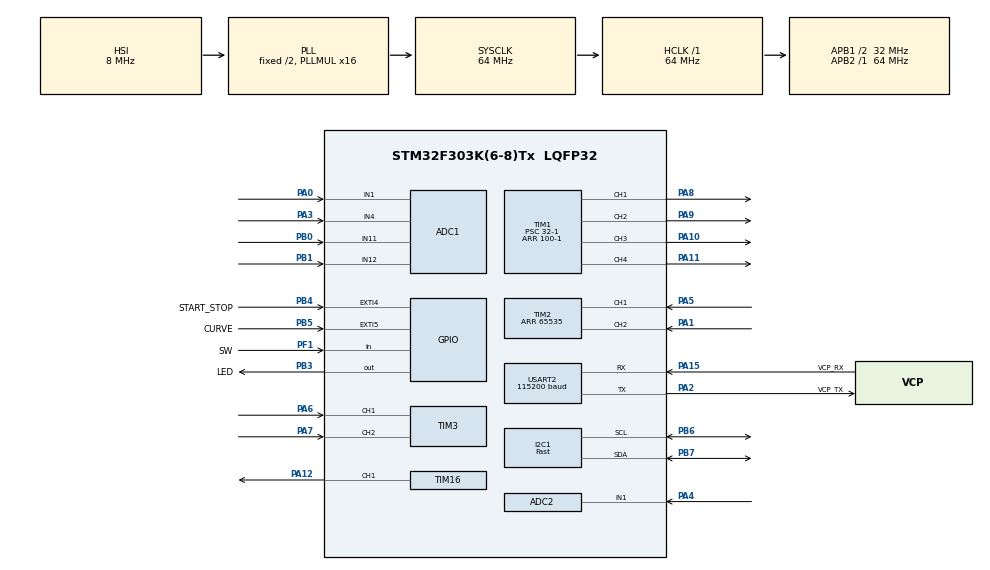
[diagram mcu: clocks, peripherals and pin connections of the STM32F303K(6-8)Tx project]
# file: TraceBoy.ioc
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ADC1.Channel-0\#ChannelRegularConversion=ADC_CHANNEL_1
ADC1.Channel-1\#ChannelRegularConversion=ADC_CHANNEL_4
ADC1.Channel-2\#ChannelRegularConversion=ADC_CHANNEL_12
ADC1.Channel-3\#ChannelRegularConversion=ADC_CHANNEL_11
ADC1.ClockPrescaler=ADC_CLOCK_ASYNC_DIV1
ADC1.ContinuousConvMode=ENABLE
ADC1.DMAContinuousRequests=ENABLE
ADC1.EOCSelection=ADC_EOC_SINGLE_CONV
ADC1.NbrOfConversion=4
ADC1.NbrOfConversionFlag=1
ADC1.Offset-0\#ChannelRegularConversion=0
ADC1.Offset-1\#ChannelRegularConversion=0
ADC1.Offset-2\#ChannelRegularConversion=0
ADC1.Offset-3\#ChannelRegularConversion=0
ADC1.OffsetNumber-0\#ChannelRegularConversion=ADC_OFFSET_NONE
ADC1.OffsetNumber-1\#ChannelRegularConversion=ADC_OFFSET_NONE
ADC1.OffsetNumber-2\#ChannelRegularConversion=ADC_OFFSET_NONE
ADC1.OffsetNumber-3\#ChannelRegularConversion=ADC_OFFSET_NONE
ADC1.Rank-0\#ChannelRegularConversion=1
ADC1.Rank-1\#ChannelRegularConversion=2
ADC1.Rank-2\#ChannelRegularConversion=3
ADC1.Rank-3\#ChannelRegularConversion=4
ADC1.SamplingTime-0\#ChannelRegularConversion=ADC_SAMPLETIME_19CYCLES_5
ADC1.SamplingTime-1\#ChannelRegularConversion=ADC_SAMPLETIME_19CYCLES_5
ADC1.SamplingTime-2\#ChannelRegularConversion=ADC_SAMPLETIME_19CYCLES_5
ADC1.SamplingTime-3\#ChannelRegularConversion=ADC_SAMPLETIME_19CYCLES_5
ADC1.SamplingTimeOPAMP-1\#ChannelRegularConversion=ADC_SAMPLETIME_61CYCLES_5
ADC1.SamplingTimeOPAMP-2\#ChannelRegularConversion=ADC_SAMPLETIME_61CYCLES_5
ADC1.SamplingTimeOPAMP-3\#ChannelRegularConversion=ADC_SAMPLETIME_61CYCLES_5
ADC1.SubFamily=STM32F303x8
ADC1.master=1
ADC2.Channel-0\#ChannelRegularConversion=ADC_CHANNEL_1
ADC2.ContinuousConvMode=ENABLE
ADC2.DMAContinuousRequests=ENABLE
ADC2.InjNumberOfConversion=0
ADC2.NbrOfConversionFlag=1
ADC2.Offset-0\#ChannelRegularConversion=0
ADC2.OffsetNumber-0\#ChannelRegularConversion=ADC_OFFSET_NONE
ADC2.Rank-0\#ChannelRegularConversion=1
ADC2.SamplingTime-0\#ChannelRegularConversion=ADC_SAMPLETIME_601CYCLES_5
ADC2.SamplingTimeOPAMP-0\#ChannelRegularConversion=ADC_SAMPLETIME_61CYCLES_5
ADC2.SubFamily=STM32F303x8
Dma.ADC1.0.Direction=DMA_PERIPH_TO_MEMORY
Dma.ADC1.0.Instance=DMA1_Channel1
Dma.ADC1.0.MemDataAlignment=DMA_MDATAALIGN_HALFWORD
Dma.ADC1.0.MemInc=DMA_MINC_ENABLE
Dma.ADC1.0.Mode=DMA_CIRCULAR
Dma.ADC1.0.PeriphDataAlignment=DMA_PDATAALIGN_HALFWORD
Dma.ADC1.0.PeriphInc=DMA_PINC_DISABLE
Dma.ADC1.0.Priority=DMA_PRIORITY_LOW
Dma.ADC2.1.Direction=DMA_PERIPH_TO_MEMORY
Dma.ADC2.1.Instance=DMA1_Channel2
Dma.ADC2.1.MemDataAlignment=DMA_MDATAALIGN_HALFWORD
Dma.ADC2.1.MemInc=DMA_MINC_ENABLE
Dma.ADC2.1.Mode=DMA_CIRCULAR
Dma.ADC2.1.PeriphDataAlignment=DMA_PDATAALIGN_HALFWORD
Dma.ADC2.1.PeriphInc=DMA_PINC_DISABLE
Dma.ADC2.1.Priority=DMA_PRIORITY_LOW
Dma.Request0=ADC1
Dma.Request1=ADC2
I2C1.I2C_Speed_Mode=I2C_Fast
I2C1.Timing=0x0000020B
Mcu.Family=STM32F3
Mcu.Name=STM32F303K(6-8)Tx
Mcu.Package=LQFP32
NVIC.DMA1_Channel1_IRQn=true\:0\:0\:false\:false\:true\:false\:true\:true
NVIC.DMA1_Channel2_IRQn=true\:0\:0\:false\:false\:true\:false\:true\:true
NVIC.EXTI4_IRQn=true\:0\:0\:false\:false\:true\:true\:true\:true
NVIC.EXTI9_5_IRQn=true\:0\:0\:false\:false\:true\:true\:true\:true
NVIC.PriorityGroup=NVIC_PRIORITYGROUP_4
NVIC.TIM6_DAC1_IRQn=true\:0\:0\:false\:false\:true\:true\:true\:true
PA0.Mode=IN1-Single-Ended
PA0.Signal=ADC1_IN1
PA1.Signal=S_TIM2_CH2
PA10.Signal=S_TIM1_CH3
PA11.Signal=S_TIM1_CH4
PA12.Signal=S_TIM16_CH1
PA13.GPIO_Label=SWDIO
PA13.Mode=Serial_Wire
PA13.Signal=SYS_JTMS-SWDIO
PA14.GPIO_Label=SWCLK
PA14.Mode=Serial_Wire
PA14.Signal=SYS_JTCK-SWCLK
PA15.GPIO_Label=VCP_RX
PA15.Mode=Asynchronous
PA15.Signal=USART2_RX
PA2.GPIO_Label=VCP_TX
PA2.Mode=Asynchronous
PA2.Signal=USART2_TX
PA3.Mode=IN4-Single-Ended
PA3.Signal=ADC1_IN4
PA4.Mode=IN1-Single-Ended
PA4.Signal=ADC2_IN1
PA5.Signal=S_TIM2_CH1_ETR
PA6.Signal=S_TIM3_CH1
PA7.Signal=S_TIM3_CH2
PA8.Signal=S_TIM1_CH1
PA9.Signal=S_TIM1_CH2
PB0.Mode=IN11-Single-Ended
PB0.Signal=ADC1_IN11
PB1.Mode=IN12-Single-Ended
PB1.Signal=ADC1_IN12
PB3.GPIO_Label=LED
PB3.Signal=GPIO_Output
PB4.GPIO_Label=START_STOP
PB4.GPIO_ModeDefaultEXTI=GPIO_MODE_IT_FALLING
PB4.Signal=GPXTI4
PB5.GPIO_Label=CURVE
PB5.GPIO_ModeDefaultEXTI=GPIO_MODE_IT_FALLING
PB5.Signal=GPXTI5
PB6.Mode=I2C
PB6.Signal=I2C1_SCL
PB7.Mode=I2C
PB7.Signal=I2C1_SDA
PF0\ /\ OSC_IN.GPIO_Label=MCO
PF0\ /\ OSC_IN.Mode=HSE-External-Clock-Source
PF0\ /\ OSC_IN.Signal=RCC_OSC_IN
PF1\ /\ OSC_OUT.GPIO_Label=SW
PF1\ /\ OSC_OUT.Signal=GPIO_Input
ProjectManager.HeapSize=0x200
ProjectManager.StackSize=0x400
ProjectManager.TargetToolchain=STM32CubeIDE
RCC.AHBFreq_Value=64000000
RCC.APB1CLKDivider=RCC_HCLK_DIV2
RCC.APB1Freq_Value=32000000
RCC.APB1TimFreq_Value=64000000
RCC.APB2Freq_Value=64000000
RCC.APB2TimFreq_Value=64000000
RCC.CortexFreq_Value=64000000
RCC.HCLKFreq_Value=64000000
RCC.HSE_VALUE=8000000
RCC.HSI_VALUE=8000000
RCC.PLLMUL=RCC_PLL_MUL16
RCC.SYSCLKFreq_VALUE=64000000
RCC.SYSCLKSourceVirtual=RCC_SYSCLKSOURCE_PLLCLK
SH.S_TIM16_CH1.0=TIM16_CH1,PWM Generation1 CH1
SH.S_TIM1_CH1.0=TIM1_CH1,PWM Generation1 CH1
SH.S_TIM1_CH2.0=TIM1_CH2,PWM Generation2 CH2
SH.S_TIM1_CH3.0=TIM1_CH3,PWM Generation3 CH3
SH.S_TIM1_CH4.0=TIM1_CH4,PWM Generation4 CH4
SH.S_TIM2_CH1_ETR.0=TIM2_CH1,Encoder_Interface
SH.S_TIM2_CH2.0=TIM2_CH2,Encoder_Interface
SH.S_TIM3_CH1.0=TIM3_CH1,Encoder_Interface
SH.S_TIM3_CH2.0=TIM3_CH2,Encoder_Interface
TIM1.AutoReloadPreload=TIM_AUTORELOAD_PRELOAD_DISABLE
TIM1.Channel-PWM\ Generation1\ CH1=TIM_CHANNEL_1
TIM1.Channel-PWM\ Generation2\ CH2=TIM_CHANNEL_2
TIM1.Channel-PWM\ Generation3\ CH3=TIM_CHANNEL_3
TIM1.Channel-PWM\ Generation4\ CH4=TIM_CHANNEL_4
TIM1.Period=100-1
TIM1.Prescaler=32-1
TIM16.Channel=TIM_CHANNEL_1
TIM16.Period=1000-1
TIM16.Prescaler=64-1
TIM16.Pulse=500
TIM2.Period=65535
TIM6.AutoReloadPreload=TIM_AUTORELOAD_PRELOAD_ENABLE
TIM6.Period=1000-1
TIM6.Prescaler=64-1
USART2.BaudRate=115200
USART2.VirtualMode-Asynchronous=VM_ASYNC
VP_TIM16_VS_ClockSourceINT.Mode=Enable_Timer
VP_TIM1_VS_ClockSourceINT.Mode=Internal
VP_TIM6_VS_ClockSourceINT.Mode=Enable_Timer
board=NUCLEO-F303K8

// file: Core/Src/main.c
/* USER CODE BEGIN Header */
/**
 ******************************************************************************
 * @file           : main.c
 * @brief          : Main program body
 ******************************************************************************
 * @attention
 *
 * Copyright (c) 2023 STMicroelectronics.
 * All rights reserved.
 *
 * This software is licensed under terms that can be found in the LICENSE file
 * in the root directory of this software component.
 * If no LICENSE file comes with this software, it is provided AS-IS.
 *
 ******************************************************************************
 */
/* USER CODE END Header */
#include "main.h"

/* USER CODE BEGIN Includes */
#include <stdio.h>
#include "arm_math.h"

#define USE_DISPLAY 0

#if USE_DISPLAY == 1
#include "ssd1306.h"
#include "fonts.h"
#endif
/* USER CODE END Includes */

ADC_HandleTypeDef hadc1;
ADC_HandleTypeDef hadc2;
DMA_HandleTypeDef hdma_adc1;
DMA_HandleTypeDef hdma_adc2;

I2C_HandleTypeDef hi2c1;

TIM_HandleTypeDef htim1;
TIM_HandleTypeDef htim2;
TIM_HandleTypeDef htim3;
TIM_HandleTypeDef htim6;
TIM_HandleTypeDef htim16;

UART_HandleTypeDef huart2;

void SystemClock_Config(void);
static void MX_GPIO_Init(void);
static void MX_DMA_Init(void);
static void MX_USART2_UART_Init(void);
static void MX_TIM1_Init(void);
static void MX_TIM2_Init(void);
static void MX_TIM3_Init(void);
static void MX_ADC1_Init(void);
static void MX_TIM16_Init(void);
static void MX_I2C1_Init(void);
static void MX_TIM6_Init(void);
static void MX_ADC2_Init(void);
/* USER CODE BEGIN PFP */

const uint8_t MPU6500_ADRS = 0b1101000 << 1;
const float PULSE_PER_ROTATION = 4096. * 2.;
const float GEAR_RATIO = 14. / 60.;
const float WHEEL_RADIUS = 0.035;
const float vP = 30.0, vI = 1.0, vD = 0.1;
const float rP = 7.0, rI = 0.1, rD = 0.0;
const float lP = 6.5, lI = 0.00, lD = 0.01;

#define LOG_START_ADDR 0x0800D800UL

//https://forum.digikey.com/t/stm32-printf/22033
#ifdef __GNUC__
#define PUTCHAR_PROTOTYPE int __io_putchar(int ch)
#else
#define PUTCHAR_PROTOTYPE int fputc(int ch, FILE *f)
#endif

PUTCHAR_PROTOTYPE {
	HAL_UART_Transmit(&huart2, (uint8_t*) &ch, 1, HAL_MAX_DELAY);
	return ch;
}

/* USER CODE END PFP */

/* USER CODE BEGIN 0 */

void flash_unlock() {
	FLASH->KEYR = FLASH_KEY1;
	FLASH->KEYR = FLASH_KEY2;
	return;
}

void flash_busy() {
	while (FLASH->SR & FLASH_SR_BSY)
		;
	return;
}

int flash_erase(uint32_t adrs, uint32_t size) {
	for (uint32_t i = 0; i < size; i += 0x800) {
		flash_busy();
		FLASH->CR |= FLASH_CR_PER;
		FLASH->AR = (uint32_t) adrs;
		FLASH->CR |= FLASH_CR_STRT;
		flash_busy();
		if (FLASH->SR & FLASH_SR_EOP) {
			FLASH->SR &= ~FLASH_SR_EOP;
		} else {
			return -1;
		}
	}
	return 0;
}

int flash_write(uint16_t *adrs, uint16_t data) {
	flash_busy();
	FLASH->CR |= FLASH_CR_PG;
	*adrs = data;
	flash_busy();
	if (FLASH->SR & FLASH_SR_EOP) {
		FLASH->SR &= ~FLASH_SR_EOP;
		return 0;
	} else {
		return -1;
	}
}

float ReadSpeed(TIM_HandleTypeDef *htim, int rate) {
	int16_t _encoder = htim->Instance->CNT;
	htim->Instance->CNT = 0;
	float speed = ((_encoder / PULSE_PER_ROTATION) * GEAR_RATIO * WHEEL_RADIUS
			* PI) * rate;
	return speed;
}

float duty_r, duty_l;

void SetDuty(float r, float l) {
	duty_l = l;
	duty_r = r;
	const uint32_t PERIOD = htim1.Init.Period + 1;
	if (r > 1.)
		r = 1.;
	if (l > 1.)
		l = 1.;

	if (r > 0) {
		__HAL_TIM_SET_COMPARE(&htim1, TIM_CHANNEL_1, PERIOD);
		__HAL_TIM_SET_COMPARE(&htim1, TIM_CHANNEL_4, (1 - r) * PERIOD);
	} else {
		__HAL_TIM_SET_COMPARE(&htim1, TIM_CHANNEL_1, (1 + r) * PERIOD);
		__HAL_TIM_SET_COMPARE(&htim1, TIM_CHANNEL_4, PERIOD);
	}
	if (l > 0) {
		__HAL_TIM_SET_COMPARE(&htim1, TIM_CHANNEL_3, PERIOD);
		__HAL_TIM_SET_COMPARE(&htim1, TIM_CHANNEL_2, (1 - l) * PERIOD);
	} else {
		__HAL_TIM_SET_COMPARE(&htim1, TIM_CHANNEL_3, (1 + l) * PERIOD);
		__HAL_TIM_SET_COMPARE(&htim1, TIM_CHANNEL_2, PERIOD);
	}
}

float drift = 0.;
uint8_t data[14];
void UpdateIMU() {
	HAL_I2C_Mem_Read(&hi2c1, MPU6500_ADRS, 0x3B, 1, data, 14, 100);
}
float ReadYawrate() {
	int16_t yawrate_raw = (int16_t) (data[12] << 8 | data[13]);
	float yawrate = yawrate_raw * (2000. / 32768.) * (PI / 180.);
	return yawrate - drift;
}
float ReadCentrifugalAcc() {
	int16_t acc_raw = (int16_t) (data[0] << 8 | data[1]);
	float acc_g = acc_raw * (4. / 32768.);
	return fabs(acc_g);
}

void DetectYawDrift(int n) {
	HAL_Delay(1000); //Wait for MPU6500 to be stable
	float _sum = 0.;
	for (int i = 0; i < n; i++) {
		_sum += ReadYawrate();
		HAL_Delay(1);
	}
	drift = _sum / n;
}

float spd = 0, yaw = 0, len = 0, rad = 0;
float x = 0, y = 0;

float v_diff = 0., r_diff = 0.;
float v_integral = 0., r_integral = 0.;
float v_diff_prev = 0., r_diff_prev = 0.;

float tgt_spd = 0.;
float acc = 0.8 / 1000.; //0.8m/s^2

uint16_t voltage_raw = 1;
char mode = 0;
float voltage = 1.;

void SetSpeed(float v, float r) {
	float spd_r = ReadSpeed(&htim3, 1000);
	float spd_l = ReadSpeed(&htim2, 1000);
	UpdateIMU();

	yaw = ReadYawrate();
	spd = (spd_r + spd_l) / 2.;
	len += spd / 1000.;
	rad += yaw / 1000.;
	x += spd * cos(rad) / 1000.;
	y += spd * sin(rad) / 1000.;

	if (fabs(tgt_spd - v) < acc) {
		tgt_spd = v;
	} else {
		if (tgt_spd < v) {
			tgt_spd += acc;
		} else {
			tgt_spd -= acc;
		}
	}
	if (ReadCentrifugalAcc() > 1.2)
		tgt_spd *= 0.97;
	//if(ReadCentrifugalAcc() > 0.8) tgt_spd *=1.- (ReadCentrifugalAcc()*0.02);

	v_diff = tgt_spd - spd;
	r_diff = r - yaw;

	//Write a PID controller here
	v_integral += v_diff;
	float duty = vP * v_diff + vI * v_integral + vD * (v_diff - v_diff_prev);
	v_diff_prev = v_diff;

	r_integral += r_diff;
	float yaw_duty = rP * r_diff + rI * r_integral
			+ rD * (r_diff - r_diff_prev);
	r_diff_prev = r_diff;

	voltage = ((float) voltage_raw / 4095.) * 3.3 * 2.9;

	float r_duty = (duty - yaw_duty) / voltage;
	float l_duty = (duty + yaw_duty) / voltage;

	SetDuty(r_duty, l_duty);
}

uint16_t line[4];
uint16_t line_max[4] = { 1, 1, 1, 1 };
float line_integral = 0.;
float line_diff_prev = 0.;

float normalize(float v) {
	if (v > 1.)
		return 1.;
	if (v < 0.)
		return 0.;
	return v;
}

void LineTrace(float v) {
	float line_normalized[4];
	for (int i = 0; i < 4; i++) {
		line_normalized[i] = (float) line[i] / line_max[i];
		line_normalized[i] = normalize(line_normalized[i]);
	}
	float line_diff = (line_normalized[0] + line_normalized[1])
			- (line_normalized[2] + line_normalized[3]);

	//Write a PID controller here
	line_integral += line_diff;
	float r = lP * line_diff + lI * line_integral
			+ lD * (line_diff - line_diff_prev);
	line_diff_prev = line_diff;

	SetSpeed(v, r);
}

uint32_t count = 0, cycle = 5 - 1;
struct log_pack {
	float x;
	float y;
	float spd;
	float rad;
};
float curve_point = 10000., stop_point = 10000.;
const float MARKER_GRACE = 0.05;
char start = 0, detect = 0;

void adc_calib(char jump) {
	if (count <= 300) {
		if (voltage < 7.4) {
			mode = 0;
			return;
		}
		SetSpeed(0, PI / 2.);
	} else if (count <= 900) {
		SetSpeed(0, -PI / 2.);
	} else if (count <= 1200) {
		SetSpeed(0, PI / 2.);
	} else {
		SetSpeed(0, 0);
		len = 0;
		count = 0;
		mode = jump;
	}
	for (int i = 0; i < 4; i++) {
		if (line[i] > line_max[i])
			line_max[i] = line[i];
	}
}

void HAL_TIM_PeriodElapsedCallback(TIM_HandleTypeDef *htim) {
	if (htim == &htim6) {
		switch (mode) {
		case 0:	//待機
			SetSpeed(0, 0);
			break;
		case 1:	//キャリブレーション
			adc_calib(2);
			break;
		case 2:	//走行
			LineTrace(1.3);
			if (detect) {
				if ((len - stop_point) > MARKER_GRACE) {
					v_integral = -10.0;
					SetDuty(-1.0, -1.0);
					count = 0;

					if (cycle > 0) {
						cycle--;
						mode = 3;
					} else {
						mode = 4;
					}
				}
			}
			break;
		case 3:	//ゴール後再開
			LineTrace(0.0);
			if (count > 3000) {
				mode = 1;
				count = 0;
				start = 0;
			}
			break;
		case 4:	//完走
			LineTrace(0.0);
			break;
		case 5:	//計測走行のキャリブレーション
			adc_calib(6);
			break;
		case 6:	//計測走行
			LineTrace(0.6);
			if (detect) {
				if ((len - stop_point) > MARKER_GRACE) {
					v_integral = -10.0;
					SetDuty(-1.0, -1.0);
					count = 0;
					mode = 4;
				}
			}

			if (count % 50 == 50 - 1) {
				HAL_FLASH_Unlock();
				struct log_pack log;
				log.rad = rad;
				log.spd = spd;
				log.x = x;
				log.y = y;

				uint16_t *p = (uint16_t*) &log;
				uint32_t memory_offset = 0;
				int _time = sizeof(log) / sizeof(uint16_t);
				if (memory_offset + _time * sizeof(uint16_t) <= 0xA000) {
					for (uint32_t i = 0; i < _time; i++) {
						flash_write(LOG_START_ADDR + memory_offset, *(p + i));
						memory_offset += sizeof(uint16_t);
					}
				}
				HAL_FLASH_Lock();
			}
		default:
			break;

		}
		count++;
		/*
		 if(detect == 1){
		 else detect = 0;
		 }
		 */
	}
}

void HAL_GPIO_EXTI_Callback(uint16_t GPIO_Pin) {
	if (GPIO_Pin == START_STOP_Pin) {
		HAL_GPIO_TogglePin(LED_GPIO_Port, LED_Pin);
		if (start == 1) {
			stop_point = len;
			if ((len - curve_point) > MARKER_GRACE) {
				detect = 1;
			}
		} else {
			start = 1;
		}
	}
	if (GPIO_Pin == CURVE_Pin) {
		curve_point = len;
		detect = 0;
	}
}
/* USER CODE END 0 */

int main(void) {

	/* MCU Configuration--------------------------------------------------------*/

	/* Reset of all peripherals, Initializes the Flash interface and the Systick. */
	HAL_Init();

	/* Configure the system clock */
	SystemClock_Config();

	/* Initialize all configured peripherals */
	MX_GPIO_Init();
	MX_DMA_Init();
	MX_USART2_UART_Init();
	MX_TIM1_Init();
	MX_TIM2_Init();
	MX_TIM3_Init();
	MX_ADC1_Init();
	MX_TIM16_Init();
	MX_I2C1_Init();
	MX_TIM6_Init();
	MX_ADC2_Init();
	/* USER CODE BEGIN 2 */

	char buf[256];

	//Enable I2CDisplay
#if USE_DISPLAY == 1
  char useDisplay = 1;
  if(ssd1306_Init(&hi2c1) != 0){
	  useDisplay = 0;
  }else{
    ssd1306_WriteString("TraceBoy V0.2\r\n", Font_7x10, White);
    ssd1306_UpdateScreen(&hi2c1);
  }
#endif

	//Enable Encoder
	HAL_TIM_Encoder_Start(&htim2, TIM_CHANNEL_ALL);
	HAL_TIM_Encoder_Start(&htim3, TIM_CHANNEL_ALL);

	//Enable Motor
	HAL_TIM_PWM_Start(&htim1, TIM_CHANNEL_1);
	HAL_TIM_PWM_Start(&htim1, TIM_CHANNEL_2);
	HAL_TIM_PWM_Start(&htim1, TIM_CHANNEL_3);
	HAL_TIM_PWM_Start(&htim1, TIM_CHANNEL_4);

	SetDuty(0, 0);

	//Enable LineSensor
	if (HAL_ADC_Start_DMA(&hadc1, (uint32_t*) line, 4) != HAL_OK) {
		printf("ADC Start failed\r\n");
		Error_Handler();
	}
	hdma_adc1.Instance->CCR &= ~(DMA_IT_TC | DMA_IT_HT);

	//Enable BatteryMonitor
	if (HAL_ADC_Start_DMA(&hadc2, (uint32_t*) &voltage_raw, 1) != HAL_OK) {
		printf("ADC Start failed\r\n");
		Error_Handler();
	}
	hdma_adc2.Instance->CCR &= ~(DMA_IT_TC | DMA_IT_HT);

	//Enable MPU6500
	uint8_t who;
	HAL_StatusTypeDef err;
	err = HAL_I2C_Mem_Read(&hi2c1, MPU6500_ADRS, 0x75, 1, &who, 1, 1000);
	if (err != HAL_OK) {
		printf("IMU read failed\r\n");
		Error_Handler();
	}
	if (who != 0x70) {
		printf("WHO_AM_I is not correct\r\n");
		Error_Handler();
	}

	HAL_I2C_Mem_Write(&hi2c1, MPU6500_ADRS, 0x6B, 1,
			(uint8_t[] ) { 0b10000000 }, 1, 1000); //Reset
	HAL_Delay(1);
	HAL_I2C_Mem_Write(&hi2c1, MPU6500_ADRS, 0x6B, 1,
			(uint8_t[] ) { 0b00001000 }, 1, 1000); //Disable TempSensor
	HAL_I2C_Mem_Write(&hi2c1, MPU6500_ADRS, 0x1B, 1,
			(uint8_t[] ) { 0b00011000 }, 1, 1000); //Set Gyro 2000dps
	HAL_I2C_Mem_Write(&hi2c1, MPU6500_ADRS, 0x1C, 1,
			(uint8_t[] ) { 0b00001000 }, 1, 1000); //Set Accel 4G
	uint8_t GYRO_FS_SEL, ACCEL_FS_SEL;
	HAL_I2C_Mem_Read(&hi2c1, MPU6500_ADRS, 0x1B, 1, &GYRO_FS_SEL, 1, 1000);
	HAL_I2C_Mem_Read(&hi2c1, MPU6500_ADRS, 0x1C, 1, &ACCEL_FS_SEL, 1, 1000);
	if (GYRO_FS_SEL != 0b00011000 || ACCEL_FS_SEL != 0b00001000) {
		printf("Sensitivity is not correct\r\n");
		Error_Handler();
	}

	mode = 0;

#if USE_DISPLAY == 1
  if(!useDisplay){
	  HAL_TIM_Base_Start_IT(&htim6);
  }
#else
	HAL_TIM_Base_Start_IT(&htim6);
#endif

	if (voltage < 3.0) {
		while (1) {
			printf("No battery detect\r\n");
			err = HAL_I2C_Mem_Read(&hi2c1, MPU6500_ADRS, 0x75, 1, &who, 1,
					1000);
			if (err != HAL_OK) {
				printf("IMU read failed\r\n");
			}
			HAL_Delay(1000);
		}
	}

	//Enable Buzzer
	char next_mode = 1;
	if (!HAL_GPIO_ReadPin(SW_GPIO_Port, SW_Pin)) {
		flash_unlock();

		if (flash_erase(LOG_START_ADDR, 0x2800) != 0) {
			while (1) {
			}
		}
		HAL_TIM_PWM_Start(&htim16, TIM_CHANNEL_1);
		HAL_Delay(200);
		HAL_TIM_PWM_Stop(&htim16, TIM_CHANNEL_1);
		next_mode = 5;
	} else {
		while (HAL_GPIO_ReadPin(SW_GPIO_Port, SW_Pin)) {
		}
	}
	//DetectYawDrift(100);
	count = 0;
	mode = next_mode;

	printf("\033[2J");
	/* USER CODE END 2 */

	/* Infinite loop */
	/* USER CODE BEGIN WHILE */
	while (1) {
		/*
		 sprintf(buf,"%6d,%6d\r\n",
		 ReadEncoder(&htim2),ReadEncoder(&htim3));
		 HAL_I2C_Mem_Read(&hi2c1,MPU6500_ADRS,0x47,1,yaw,2,1000);
		 sprintf(buf + strlen(buf),"%6d\r\n",(int16_t)(yaw[0]<<8 | yaw[1]));
		 sprintf(buf,"%4d,%4d\r\n%4d,%4d,\n",
		 line[0],line[1],line[2],line[3]);
		 */
		sprintf(buf, "%d,%d\r\n",
				HAL_GPIO_ReadPin(START_STOP_GPIO_Port, START_STOP_Pin),
				HAL_GPIO_ReadPin(CURVE_GPIO_Port, CURVE_Pin));
		sprintf(buf + strlen(buf), "%d\r\n", voltage_raw);

#if USE_DISPLAY == 1
	  if(useDisplay){
		  ssd1306_Fill(Black);
      ssd1306_SetCursor(0,0);
			ssd1306_WriteString(buf, Font_7x10, White);
		  ssd1306_UpdateScreen(&hi2c1);
	  }else{
		  printf("\033[H");
		  printf("%s",buf);
	  }
#else
		printf("\033[H");
		printf("%s", buf);
#endif

		/* USER CODE END WHILE */

	}
}

void SystemClock_Config(void) {
	RCC_OscInitTypeDef RCC_OscInitStruct = { 0 };
	RCC_ClkInitTypeDef RCC_ClkInitStruct = { 0 };
	RCC_PeriphCLKInitTypeDef PeriphClkInit = { 0 };

	/** Initializes the RCC Oscillators according to the specified parameters
	 * in the RCC_OscInitTypeDef structure.
	 */
	RCC_OscInitStruct.OscillatorType = RCC_OSCILLATORTYPE_HSI;
	RCC_OscInitStruct.HSIState = RCC_HSI_ON;
	RCC_OscInitStruct.HSICalibrationValue = RCC_HSICALIBRATION_DEFAULT;
	RCC_OscInitStruct.PLL.PLLState = RCC_PLL_ON;
	RCC_OscInitStruct.PLL.PLLSource = RCC_PLLSOURCE_HSI;
	RCC_OscInitStruct.PLL.PLLMUL = RCC_PLL_MUL16;
	if (HAL_RCC_OscConfig(&RCC_OscInitStruct) != HAL_OK) {
		Error_Handler();
	}

	/** Initializes the CPU, AHB and APB buses clocks
	 */
	RCC_ClkInitStruct.ClockType = RCC_CLOCKTYPE_HCLK | RCC_CLOCKTYPE_SYSCLK
			| RCC_CLOCKTYPE_PCLK1 | RCC_CLOCKTYPE_PCLK2;
	RCC_ClkInitStruct.SYSCLKSource = RCC_SYSCLKSOURCE_PLLCLK;
	RCC_ClkInitStruct.AHBCLKDivider = RCC_SYSCLK_DIV1;
	RCC_ClkInitStruct.APB1CLKDivider = RCC_HCLK_DIV2;
	RCC_ClkInitStruct.APB2CLKDivider = RCC_HCLK_DIV1;

	if (HAL_RCC_ClockConfig(&RCC_ClkInitStruct, FLASH_LATENCY_2) != HAL_OK) {
		Error_Handler();
	}
	PeriphClkInit.PeriphClockSelection = RCC_PERIPHCLK_I2C1 | RCC_PERIPHCLK_TIM1
			| RCC_PERIPHCLK_ADC12;
	PeriphClkInit.Adc12ClockSelection = RCC_ADC12PLLCLK_DIV1;
	PeriphClkInit.I2c1ClockSelection = RCC_I2C1CLKSOURCE_HSI;
	PeriphClkInit.Tim1ClockSelection = RCC_TIM1CLK_HCLK;
	if (HAL_RCCEx_PeriphCLKConfig(&PeriphClkInit) != HAL_OK) {
		Error_Handler();
	}
}

static void MX_ADC1_Init(void) {

	ADC_MultiModeTypeDef multimode = { 0 };
	ADC_ChannelConfTypeDef sConfig = { 0 };

	/** Common config
	 */
	hadc1.Instance = ADC1;
	hadc1.Init.ClockPrescaler = ADC_CLOCK_ASYNC_DIV1;
	hadc1.Init.Resolution = ADC_RESOLUTION_12B;
	hadc1.Init.ScanConvMode = ADC_SCAN_ENABLE;
	hadc1.Init.ContinuousConvMode = ENABLE;
	hadc1.Init.DiscontinuousConvMode = DISABLE;
	hadc1.Init.ExternalTrigConvEdge = ADC_EXTERNALTRIGCONVEDGE_NONE;
	hadc1.Init.ExternalTrigConv = ADC_SOFTWARE_START;
	hadc1.Init.DataAlign = ADC_DATAALIGN_RIGHT;
	hadc1.Init.NbrOfConversion = 4;
	hadc1.Init.DMAContinuousRequests = ENABLE;
	hadc1.Init.EOCSelection = ADC_EOC_SINGLE_CONV;
	hadc1.Init.LowPowerAutoWait = DISABLE;
	hadc1.Init.Overrun = ADC_OVR_DATA_OVERWRITTEN;
	if (HAL_ADC_Init(&hadc1) != HAL_OK) {
		Error_Handler();
	}

	/** Configure the ADC multi-mode
	 */
	multimode.Mode = ADC_MODE_INDEPENDENT;
	if (HAL_ADCEx_MultiModeConfigChannel(&hadc1, &multimode) != HAL_OK) {
		Error_Handler();
	}

	/** Configure Regular Channel
	 */
	sConfig.Channel = ADC_CHANNEL_1;
	sConfig.Rank = ADC_REGULAR_RANK_1;
	sConfig.SingleDiff = ADC_SINGLE_ENDED;
	sConfig.SamplingTime = ADC_SAMPLETIME_19CYCLES_5;
	sConfig.OffsetNumber = ADC_OFFSET_NONE;
	sConfig.Offset = 0;
	if (HAL_ADC_ConfigChannel(&hadc1, &sConfig) != HAL_OK) {
		Error_Handler();
	}

	/** Configure Regular Channel
	 */
	sConfig.Channel = ADC_CHANNEL_4;
	sConfig.Rank = ADC_REGULAR_RANK_2;
	if (HAL_ADC_ConfigChannel(&hadc1, &sConfig) != HAL_OK) {
		Error_Handler();
	}

	/** Configure Regular Channel
	 */
	sConfig.Channel = ADC_CHANNEL_12;
	sConfig.Rank = ADC_REGULAR_RANK_3;
	if (HAL_ADC_ConfigChannel(&hadc1, &sConfig) != HAL_OK) {
		Error_Handler();
	}

	/** Configure Regular Channel
	 */
	sConfig.Channel = ADC_CHANNEL_11;
	sConfig.Rank = ADC_REGULAR_RANK_4;
	if (HAL_ADC_ConfigChannel(&hadc1, &sConfig) != HAL_OK) {
		Error_Handler();
	}

}

static void MX_ADC2_Init(void) {

	ADC_ChannelConfTypeDef sConfig = { 0 };

	/** Common config
	 */
	hadc2.Instance = ADC2;
	hadc2.Init.ClockPrescaler = ADC_CLOCK_ASYNC_DIV1;
	hadc2.Init.Resolution = ADC_RESOLUTION_12B;
	hadc2.Init.ScanConvMode = ADC_SCAN_DISABLE;
	hadc2.Init.ContinuousConvMode = ENABLE;
	hadc2.Init.DiscontinuousConvMode = DISABLE;
	hadc2.Init.ExternalTrigConvEdge = ADC_EXTERNALTRIGCONVEDGE_NONE;
	hadc2.Init.ExternalTrigConv = ADC_SOFTWARE_START;
	hadc2.Init.DataAlign = ADC_DATAALIGN_RIGHT;
	hadc2.Init.NbrOfConversion = 1;
	hadc2.Init.DMAContinuousRequests = ENABLE;
	hadc2.Init.EOCSelection = ADC_EOC_SINGLE_CONV;
	hadc2.Init.LowPowerAutoWait = DISABLE;
	hadc2.Init.Overrun = ADC_OVR_DATA_OVERWRITTEN;
	if (HAL_ADC_Init(&hadc2) != HAL_OK) {
		Error_Handler();
	}

	/** Configure Regular Channel
	 */
	sConfig.Channel = ADC_CHANNEL_1;
	sConfig.Rank = ADC_REGULAR_RANK_1;
	sConfig.SingleDiff = ADC_SINGLE_ENDED;
	sConfig.SamplingTime = ADC_SAMPLETIME_601CYCLES_5;
	sConfig.OffsetNumber = ADC_OFFSET_NONE;
	sConfig.Offset = 0;
	if (HAL_ADC_ConfigChannel(&hadc2, &sConfig) != HAL_OK) {
		Error_Handler();
	}

}

static void MX_I2C1_Init(void) {

	hi2c1.Instance = I2C1;
	hi2c1.Init.Timing = 0x0000020B;
	hi2c1.Init.OwnAddress1 = 0;
	hi2c1.Init.AddressingMode = I2C_ADDRESSINGMODE_7BIT;
	hi2c1.Init.DualAddressMode = I2C_DUALADDRESS_DISABLE;
	hi2c1.Init.OwnAddress2 = 0;
	hi2c1.Init.OwnAddress2Masks = I2C_OA2_NOMASK;
	hi2c1.Init.GeneralCallMode = I2C_GENERALCALL_DISABLE;
	hi2c1.Init.NoStretchMode = I2C_NOSTRETCH_DISABLE;
	if (HAL_I2C_Init(&hi2c1) != HAL_OK) {
		Error_Handler();
	}

	/** Configure Analogue filter
	 */
	if (HAL_I2CEx_ConfigAnalogFilter(&hi2c1, I2C_ANALOGFILTER_ENABLE)
			!= HAL_OK) {
		Error_Handler();
	}

	/** Configure Digital filter
	 */
	if (HAL_I2CEx_ConfigDigitalFilter(&hi2c1, 0) != HAL_OK) {
		Error_Handler();
	}

}

static void MX_TIM1_Init(void) {

	TIM_ClockConfigTypeDef sClockSourceConfig = { 0 };
	TIM_MasterConfigTypeDef sMasterConfig = { 0 };
	TIM_OC_InitTypeDef sConfigOC = { 0 };
	TIM_BreakDeadTimeConfigTypeDef sBreakDeadTimeConfig = { 0 };

	htim1.Instance = TIM1;
	htim1.Init.Prescaler = 32 - 1;
	htim1.Init.CounterMode = TIM_COUNTERMODE_UP;
	htim1.Init.Period = 100 - 1;
	htim1.Init.ClockDivision = TIM_CLOCKDIVISION_DIV1;
	htim1.Init.RepetitionCounter = 0;
	htim1.Init.AutoReloadPreload = TIM_AUTORELOAD_PRELOAD_DISABLE;
	if (HAL_TIM_Base_Init(&htim1) != HAL_OK) {
		Error_Handler();
	}
	sClockSourceConfig.ClockSource = TIM_CLOCKSOURCE_INTERNAL;
	if (HAL_TIM_ConfigClockSource(&htim1, &sClockSourceConfig) != HAL_OK) {
		Error_Handler();
	}
	if (HAL_TIM_PWM_Init(&htim1) != HAL_OK) {
		Error_Handler();
	}
	sMasterConfig.MasterOutputTrigger = TIM_TRGO_RESET;
	sMasterConfig.MasterOutputTrigger2 = TIM_TRGO2_RESET;
	sMasterConfig.MasterSlaveMode = TIM_MASTERSLAVEMODE_DISABLE;
	if (HAL_TIMEx_MasterConfigSynchronization(&htim1, &sMasterConfig)
			!= HAL_OK) {
		Error_Handler();
	}
	sConfigOC.OCMode = TIM_OCMODE_PWM1;
	sConfigOC.Pulse = 0;
	sConfigOC.OCPolarity = TIM_OCPOLARITY_HIGH;
	sConfigOC.OCNPolarity = TIM_OCNPOLARITY_HIGH;
	sConfigOC.OCFastMode = TIM_OCFAST_DISABLE;
	sConfigOC.OCIdleState = TIM_OCIDLESTATE_RESET;
	sConfigOC.OCNIdleState = TIM_OCNIDLESTATE_RESET;
	if (HAL_TIM_PWM_ConfigChannel(&htim1, &sConfigOC, TIM_CHANNEL_1)
			!= HAL_OK) {
		Error_Handler();
	}
	if (HAL_TIM_PWM_ConfigChannel(&htim1, &sConfigOC, TIM_CHANNEL_2)
			!= HAL_OK) {
		Error_Handler();
	}
	if (HAL_TIM_PWM_ConfigChannel(&htim1, &sConfigOC, TIM_CHANNEL_3)
			!= HAL_OK) {
		Error_Handler();
	}
	if (HAL_TIM_PWM_ConfigChannel(&htim1, &sConfigOC, TIM_CHANNEL_4)
			!= HAL_OK) {
		Error_Handler();
	}
	sBreakDeadTimeConfig.OffStateRunMode = TIM_OSSR_DISABLE;
	sBreakDeadTimeConfig.OffStateIDLEMode = TIM_OSSI_DISABLE;
	sBreakDeadTimeConfig.LockLevel = TIM_LOCKLEVEL_OFF;
	sBreakDeadTimeConfig.DeadTime = 0;
	sBreakDeadTimeConfig.BreakState = TIM_BREAK_DISABLE;
	sBreakDeadTimeConfig.BreakPolarity = TIM_BREAKPOLARITY_HIGH;
	sBreakDeadTimeConfig.BreakFilter = 0;
	sBreakDeadTimeConfig.Break2State = TIM_BREAK2_DISABLE;
	sBreakDeadTimeConfig.Break2Polarity = TIM_BREAK2POLARITY_HIGH;
	sBreakDeadTimeConfig.Break2Filter = 0;
	sBreakDeadTimeConfig.AutomaticOutput = TIM_AUTOMATICOUTPUT_DISABLE;
	if (HAL_TIMEx_ConfigBreakDeadTime(&htim1, &sBreakDeadTimeConfig)
			!= HAL_OK) {
		Error_Handler();
	}
	HAL_TIM_MspPostInit(&htim1);

}

static void MX_TIM2_Init(void) {

	TIM_Encoder_InitTypeDef sConfig = { 0 };
	TIM_MasterConfigTypeDef sMasterConfig = { 0 };

	htim2.Instance = TIM2;
	htim2.Init.Prescaler = 0;
	htim2.Init.CounterMode = TIM_COUNTERMODE_UP;
	htim2.Init.Period = 65535;
	htim2.Init.ClockDivision = TIM_CLOCKDIVISION_DIV1;
	htim2.Init.AutoReloadPreload = TIM_AUTORELOAD_PRELOAD_DISABLE;
	sConfig.EncoderMode = TIM_ENCODERMODE_TI1;
	sConfig.IC1Polarity = TIM_ICPOLARITY_RISING;
	sConfig.IC1Selection = TIM_ICSELECTION_DIRECTTI;
	sConfig.IC1Prescaler = TIM_ICPSC_DIV1;
	sConfig.IC1Filter = 0;
	sConfig.IC2Polarity = TIM_ICPOLARITY_RISING;
	sConfig.IC2Selection = TIM_ICSELECTION_DIRECTTI;
	sConfig.IC2Prescaler = TIM_ICPSC_DIV1;
	sConfig.IC2Filter = 0;
	if (HAL_TIM_Encoder_Init(&htim2, &sConfig) != HAL_OK) {
		Error_Handler();
	}
	sMasterConfig.MasterOutputTrigger = TIM_TRGO_RESET;
	sMasterConfig.MasterSlaveMode = TIM_MASTERSLAVEMODE_DISABLE;
	if (HAL_TIMEx_MasterConfigSynchronization(&htim2, &sMasterConfig)
			!= HAL_OK) {
		Error_Handler();
	}

}

static void MX_TIM3_Init(void) {

	TIM_Encoder_InitTypeDef sConfig = { 0 };
	TIM_MasterConfigTypeDef sMasterConfig = { 0 };

	htim3.Instance = TIM3;
	htim3.Init.Prescaler = 0;
	htim3.Init.CounterMode = TIM_COUNTERMODE_UP;
	htim3.Init.Period = 65535;
	htim3.Init.ClockDivision = TIM_CLOCKDIVISION_DIV1;
	htim3.Init.AutoReloadPreload = TIM_AUTORELOAD_PRELOAD_DISABLE;
	sConfig.EncoderMode = TIM_ENCODERMODE_TI1;
	sConfig.IC1Polarity = TIM_ICPOLARITY_RISING;
	sConfig.IC1Selection = TIM_ICSELECTION_DIRECTTI;
	sConfig.IC1Prescaler = TIM_ICPSC_DIV1;
	sConfig.IC1Filter = 0;
	sConfig.IC2Polarity = TIM_ICPOLARITY_RISING;
	sConfig.IC2Selection = TIM_ICSELECTION_DIRECTTI;
	sConfig.IC2Prescaler = TIM_ICPSC_DIV1;
	sConfig.IC2Filter = 0;
	if (HAL_TIM_Encoder_Init(&htim3, &sConfig) != HAL_OK) {
		Error_Handler();
	}
	sMasterConfig.MasterOutputTrigger = TIM_TRGO_RESET;
	sMasterConfig.MasterSlaveMode = TIM_MASTERSLAVEMODE_DISABLE;
	if (HAL_TIMEx_MasterConfigSynchronization(&htim3, &sMasterConfig)
			!= HAL_OK) {
		Error_Handler();
	}

}

static void MX_TIM6_Init(void) {

	TIM_MasterConfigTypeDef sMasterConfig = { 0 };

	htim6.Instance = TIM6;
	htim6.Init.Prescaler = 64 - 1;
	htim6.Init.CounterMode = TIM_COUNTERMODE_UP;
	htim6.Init.Period = 1000 - 1;
	htim6.Init.AutoReloadPreload = TIM_AUTORELOAD_PRELOAD_ENABLE;
	if (HAL_TIM_Base_Init(&htim6) != HAL_OK) {
		Error_Handler();
	}
	sMasterConfig.MasterOutputTrigger = TIM_TRGO_RESET;
	sMasterConfig.MasterSlaveMode = TIM_MASTERSLAVEMODE_DISABLE;
	if (HAL_TIMEx_MasterConfigSynchronization(&htim6, &sMasterConfig)
			!= HAL_OK) {
		Error_Handler();
	}

}

static void MX_TIM16_Init(void) {

	TIM_OC_InitTypeDef sConfigOC = { 0 };
	TIM_BreakDeadTimeConfigTypeDef sBreakDeadTimeConfig = { 0 };

	htim16.Instance = TIM16;
	htim16.Init.Prescaler = 64 - 1;
	htim16.Init.CounterMode = TIM_COUNTERMODE_UP;
	htim16.Init.Period = 1000 - 1;
	htim16.Init.ClockDivision = TIM_CLOCKDIVISION_DIV1;
	htim16.Init.RepetitionCounter = 0;
	htim16.Init.AutoReloadPreload = TIM_AUTORELOAD_PRELOAD_DISABLE;
	if (HAL_TIM_Base_Init(&htim16) != HAL_OK) {
		Error_Handler();
	}
	if (HAL_TIM_PWM_Init(&htim16) != HAL_OK) {
		Error_Handler();
	}
	sConfigOC.OCMode = TIM_OCMODE_PWM1;
	sConfigOC.Pulse = 500;
	sConfigOC.OCPolarity = TIM_OCPOLARITY_HIGH;
	sConfigOC.OCNPolarity = TIM_OCNPOLARITY_HIGH;
	sConfigOC.OCFastMode = TIM_OCFAST_DISABLE;
	sConfigOC.OCIdleState = TIM_OCIDLESTATE_RESET;
	sConfigOC.OCNIdleState = TIM_OCNIDLESTATE_RESET;
	if (HAL_TIM_PWM_ConfigChannel(&htim16, &sConfigOC, TIM_CHANNEL_1)
			!= HAL_OK) {
		Error_Handler();
	}
	sBreakDeadTimeConfig.OffStateRunMode = TIM_OSSR_DISABLE;
	sBreakDeadTimeConfig.OffStateIDLEMode = TIM_OSSI_DISABLE;
	sBreakDeadTimeConfig.LockLevel = TIM_LOCKLEVEL_OFF;
	sBreakDeadTimeConfig.DeadTime = 0;
	sBreakDeadTimeConfig.BreakState = TIM_BREAK_DISABLE;
	sBreakDeadTimeConfig.BreakPolarity = TIM_BREAKPOLARITY_HIGH;
	sBreakDeadTimeConfig.BreakFilter = 0;
	sBreakDeadTimeConfig.AutomaticOutput = TIM_AUTOMATICOUTPUT_DISABLE;
	if (HAL_TIMEx_ConfigBreakDeadTime(&htim16, &sBreakDeadTimeConfig)
			!= HAL_OK) {
		Error_Handler();
	}
	HAL_TIM_MspPostInit(&htim16);

}

static void MX_USART2_UART_Init(void) {

	huart2.Instance = USART2;
	huart2.Init.BaudRate = 115200;
	huart2.Init.WordLength = UART_WORDLENGTH_8B;
	huart2.Init.StopBits = UART_STOPBITS_1;
	huart2.Init.Parity = UART_PARITY_NONE;
	huart2.Init.Mode = UART_MODE_TX_RX;
	huart2.Init.HwFlowCtl = UART_HWCONTROL_NONE;
	huart2.Init.OverSampling = UART_OVERSAMPLING_16;
	huart2.Init.OneBitSampling = UART_ONE_BIT_SAMPLE_DISABLE;
	huart2.AdvancedInit.AdvFeatureInit = UART_ADVFEATURE_NO_INIT;
	if (HAL_UART_Init(&huart2) != HAL_OK) {
		Error_Handler();
	}

}

static void MX_DMA_Init(void) {

	/* DMA controller clock enable */
	__HAL_RCC_DMA1_CLK_ENABLE();

	/* DMA interrupt init */
	/* DMA1_Channel1_IRQn interrupt configuration */
	HAL_NVIC_SetPriority(DMA1_Channel1_IRQn, 0, 0);
	HAL_NVIC_EnableIRQ(DMA1_Channel1_IRQn);
	/* DMA1_Channel2_IRQn interrupt configuration */
	HAL_NVIC_SetPriority(DMA1_Channel2_IRQn, 0, 0);
	HAL_NVIC_EnableIRQ(DMA1_Channel2_IRQn);

}

static void MX_GPIO_Init(void) {
	GPIO_InitTypeDef GPIO_InitStruct = { 0 };

	/* GPIO Ports Clock Enable */
	__HAL_RCC_GPIOF_CLK_ENABLE();
	__HAL_RCC_GPIOA_CLK_ENABLE();
	__HAL_RCC_GPIOB_CLK_ENABLE();

	/*Configure GPIO pin Output Level */
	HAL_GPIO_WritePin(LED_GPIO_Port, LED_Pin, GPIO_PIN_RESET);

	/*Configure GPIO pin : SW_Pin */
	GPIO_InitStruct.Pin = SW_Pin;
	GPIO_InitStruct.Mode = GPIO_MODE_INPUT;
	GPIO_InitStruct.Pull = GPIO_NOPULL;
	HAL_GPIO_Init(SW_GPIO_Port, &GPIO_InitStruct);

	/*Configure GPIO pin : LED_Pin */
	GPIO_InitStruct.Pin = LED_Pin;
	GPIO_InitStruct.Mode = GPIO_MODE_OUTPUT_PP;
	GPIO_InitStruct.Pull = GPIO_NOPULL;
	GPIO_InitStruct.Speed = GPIO_SPEED_FREQ_LOW;
	HAL_GPIO_Init(LED_GPIO_Port, &GPIO_InitStruct);

	/*Configure GPIO pins : START_STOP_Pin CURVE_Pin */
	GPIO_InitStruct.Pin = START_STOP_Pin | CURVE_Pin;
	GPIO_InitStruct.Mode = GPIO_MODE_IT_FALLING;
	GPIO_InitStruct.Pull = GPIO_NOPULL;
	HAL_GPIO_Init(GPIOB, &GPIO_InitStruct);

	/* EXTI interrupt init*/
	HAL_NVIC_SetPriority(EXTI4_IRQn, 0, 0);
	HAL_NVIC_EnableIRQ(EXTI4_IRQn);

	HAL_NVIC_SetPriority(EXTI9_5_IRQn, 0, 0);
	HAL_NVIC_EnableIRQ(EXTI9_5_IRQn);

}

void Error_Handler(void) {
	__disable_irq();
	while (1) {
	}
}
